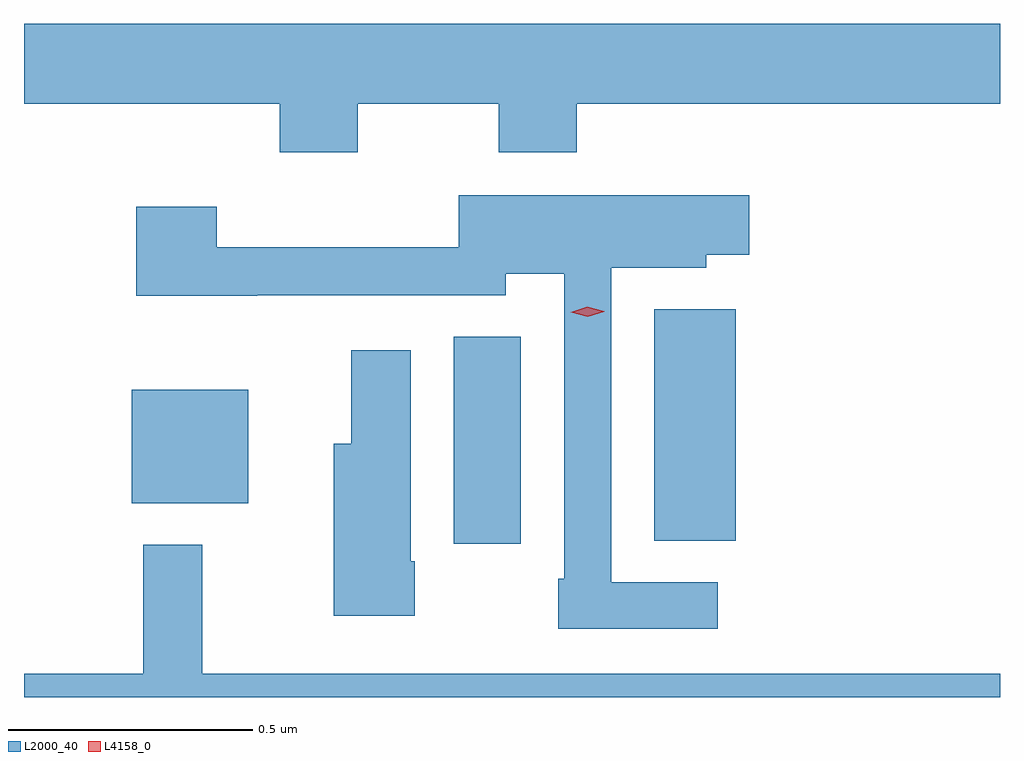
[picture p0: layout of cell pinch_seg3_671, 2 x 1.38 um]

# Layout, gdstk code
import gdstk
lib = gdstk.Library(unit=1e-6, precision=1e-09)
def R(c, l, rs):  # rectangles x0, y0, x1, y1
    for r in rs: c.add(gdstk.rectangle(r[:2], r[2:], *l))
def P(c, l, *ps):  # polygons
    for p in ps: c.add(gdstk.Polygon(p, *l))
L2000_40 = (2000, 40)
L4158_0 = (4158, 0)

pinch_seg3_671 = lib.new_cell('pinch_seg3_671')
R(pinch_seg3_671, L2000_40, [(1035.812,666.714,1035.949,667.139), (1036.223,666.721,1036.39,667.195), (1035.152,666.797,1035.391,667.03)])
P(pinch_seg3_671, L2000_40, [(1035.615,667.616),(1035.904,667.616),(1035.904,667.517),(1036.064,667.517),(1036.064,667.616),(1036.931,667.616),(1036.931,667.78),(1034.931,667.78),(1034.931,667.616),(1035.455,667.616),(1035.455,667.517),(1035.615,667.517)],
  [(1036.353,666.636),(1036.134,666.636),(1036.134,667.28),(1036.329,667.28),(1036.329,667.307),(1036.417,667.307),(1036.417,667.429),(1035.822,667.429),(1035.822,667.322),(1035.326,667.322),(1035.326,667.405),(1035.161,667.405),(1035.161,667.223),(1035.409,667.223),(1035.409,667.224),(1035.918,667.224),(1035.918,667.268),(1036.038,667.268),(1036.038,666.643),(1036.026,666.643),(1036.026,666.54),(1036.353,666.54)],
  [(1035.732,666.679),(1035.724,666.679),(1035.724,667.111),(1035.602,667.111),(1035.602,666.919),(1035.566,666.919),(1035.566,666.567),(1035.732,666.567)],
  [(1036.931,666.448),(1035.296,666.448),(1035.296,666.712),(1035.175,666.712),(1035.175,666.448),(1034.931,666.448),(1034.931,666.4),(1036.931,666.4)])
P(pinch_seg3_671, L4158_0, [(1036.086,667.18),(1036.051,667.189),(1036.051,667.189),(1036.051,667.189),(1036.085,667.2),(1036.12,667.191),(1036.12,667.19),(1036.12,667.19)])

lib.write_gds('pinch_seg3_671.gds')
